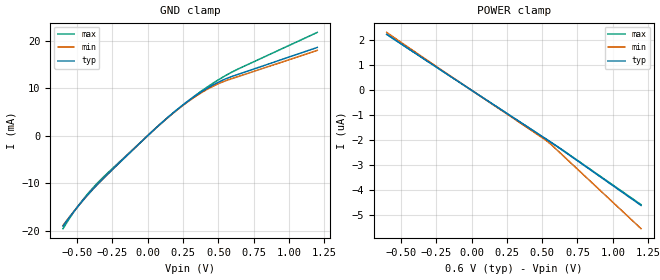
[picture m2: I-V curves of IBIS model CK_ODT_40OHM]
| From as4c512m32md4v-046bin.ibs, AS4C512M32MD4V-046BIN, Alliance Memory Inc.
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|   MODEL: CK_ODT_40OHM
[Model]   CK_ODT_40OHM
Model_type   Input
Vinl   = 0.080V
Vinh   = 0.220V
|   typ   min   max
C_comp   0.528pF   0.475pF   0.581pF
[Voltage Range]   0.600V   0.570V   0.650V
[Temperature Range]   25.0   95.0   -40.0
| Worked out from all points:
|   GND clamp passes 1 mA (typ) near -0.04 V on its own axis
[GND Clamp]
|   Voltage   I(typ)   I(min)   I(max)
-600mV    -19.03mA   -18.92mA   -19.58mA
-540mV    -16.63mA   -16.59mA   -16.81mA
-480mV    -14.4mA    -14.39mA   -14.3mA
-410mV    -11.98mA   -11.99mA   -11.74mA
-340mV    -9.785mA   -9.781mA   -9.494mA
80mV      2.215mA    2.189mA    2.181mA
200mV     5.288mA    5.215mA    5.259mA
320mV     8.01mA     7.873mA    8.08mA
440mV     10.3mA     10.06mA    10.61mA
560mV     12.05mA    11.63mA    12.79mA
1.2V      18.56mA    17.95mA    21.72mA
[POWER Clamp]
|   Voltage   I(typ)   I(min)   I(max)
-600mV    2.234uA    2.311uA    2.235uA
540mV     -1.999uA   -2.062uA   -1.998uA
650mV     -2.425uA   -2.626uA   -2.409uA
1.2V      -4.606uA   -5.535uA   -4.574uA
